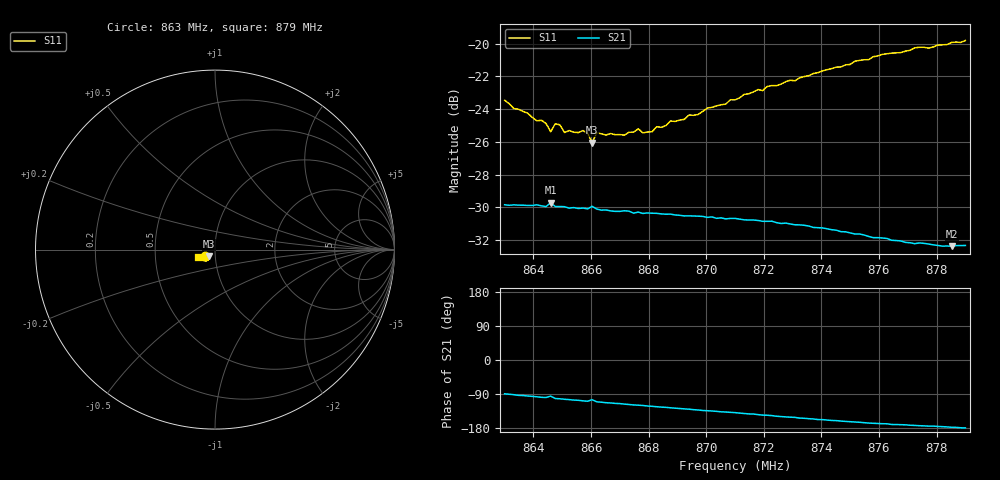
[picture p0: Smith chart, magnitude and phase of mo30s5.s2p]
# HZ S RI R 50
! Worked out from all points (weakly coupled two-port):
!   101 points, 863 MHz to 879 MHz, reference 50 ohm
!   highest |S21| = -29.71 dB at 864.6 MHz (marker M1); lowest = -32.4 dB at 878.52 MHz (marker M2)
!   lowest |S11| = -26.0 dB at 866.04 MHz (marker M3), VSWR 1.10, Z = 46.7 - j3.51 ohm
!   |S11| at or under -10 dB: start of sweep to end of sweep
!   S12 and S22 are empty: the file has one direction only
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8.63e8  -0.0558 -0.0373  0.000495 -0.0322  0 0  0 0
8.6332e8  -0.0526 -0.0354  -0.000895 -0.0322  0 0  0 0
8.6428e8  -0.0461 -0.0359  -0.00467 -0.0316  0 0  0 0
8.646e8  -0.0409 -0.0351  -0.00298 -0.0326  0 0  0 0
8.6476e8  -0.0447 -0.0353  -0.00647 -0.0312  0 0  0 0
8.6492e8  -0.0444 -0.035  -0.00679 -0.0311  0 0  0 0
8.6508e8  -0.0407 -0.0347  -0.0075 -0.0309  0 0  0 0
8.6572e8  -0.0391 -0.0376  -0.0096 -0.03  0 0  0 0
8.6588e8  -0.0386 -0.0368  -0.0101 -0.0296  0 0  0 0
8.6604e8  -0.0328 -0.0375  -0.00814 -0.0308  0 0  0 0
8.662e8  -0.038 -0.0376  -0.0109 -0.0293  0 0  0 0
8.6716e8  -0.034 -0.0401  -0.0138 -0.0277  0 0  0 0
8.6764e8  -0.0338 -0.0434  -0.015 -0.0267  0 0  0 0
8.678e8  -0.0322 -0.0426  -0.0152 -0.0262  0 0  0 0
8.6844e8  -0.0317 -0.0456  -0.017 -0.025  0 0  0 0
8.6876e8  -0.0322 -0.0483  -0.0178 -0.0244  0 0  0 0
8.6924e8  -0.0325 -0.0489  -0.0188 -0.0232  0 0  0 0
8.71e8  -0.0371 -0.0562  -0.0221 -0.0193  0 0  0 0
8.7372e8  -0.0516 -0.0625  -0.025 -0.0114  0 0  0 0
8.7644e8  -0.0744 -0.0567  -0.0248 -0.00427  0 0  0 0
8.7852e8  -0.0897 -0.046  -0.0241 -0.00105  0 0  0 0
8.79e8  -0.0934 -0.0415  -0.0242 -0.000328  0 0  0 0
